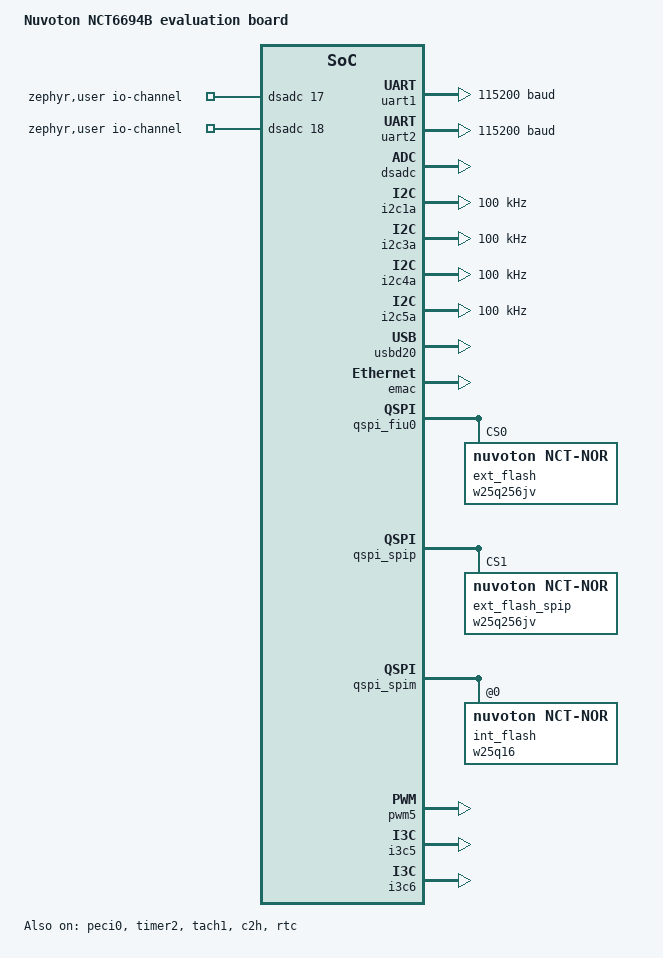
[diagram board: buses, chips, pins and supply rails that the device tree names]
/*
 * Copyright (c) 2025 Nuvoton Technology Corporation.
 *
 * SPDX-License-Identifier: Apache-2.0
 */

/dts-v1/;

#include <nuvoton/nct6694b.dtsi>
#include <nuvoton/nct/nct66/nct66-pinctrl.dtsi>

/ {
	model = "Nuvoton NCT6694B evaluation board";

	chosen {
		zephyr,sram = &sram0;
		zephyr,flash = &flash0;
		zephyr,shell-uart = &uart1;
		zephyr,console = &uart1;
	};

	aliases {
		watchdog0 = &twd;
		rtc = &rtc;
		taf-flash = &ext_flash;
	};

	zephyr,user {
		/* adjust channel number according to enum adc_channel_en in adc_nct.c */
		/* Because VIN16, THR16, TD2P is the same pin, it must only select one type.
		 * Because VIN15, THR15, TD0P is the same pin, it must only select one type.
		 * Because VIN14, THR14, TD1P is the same pin, it must only select one type.
		 * Because VIN1, THR1, TD3P is the same pin, it must only select one type.
		 * Because VIN2, THR2, TD4P is the same pin, it must only select one type.
		 * Exsample : if you select channel 8(VIN16),
		 *            and you can't select channel 9(THR16) and channel 22(TD2P).
		 */
		io-channels = <&dsadc 17>, <&dsadc 18>;
	};
};

&uart1 {
	status = "okay";
	current-speed = <115200>;
	pinctrl-0 = <&cr_uart1_sin_gp14 &cr_uart1_sout_gp15>;
	pinctrl-names = "default";
};

&uart2 {
	status = "okay";
	current-speed = <115200>;
	pinctrl-0 = <&cr_uart2_sin_gp30 &cr_uart2_sout_gp31>;
	pinctrl-names = "default";
};

&peci0 {
	status = "okay";
	pinctrl-0 = <&peci0_gp97>;
	pinctrl-names = "default";
};

&dsadc {
	status = "okay";
	/* Pin D7 is shared by thermal signal VIN16, THR16, TD2P.
	 * Pin C7 is shared by thermal signal VIN15, THR15, TD1P.
	 * Pin A6 is shared by thermal signal VIN14, THR14, TD0P.
	 * Pin B6 is shared by thermal signal VIN1, THR1, TD3P.
	 * Pin C6 is shared by thermal signal VIN2, THR2, TD4P.
	 */
	pinctrl-0 = <&adc_vin7_gp86   /* VIN7 - C8 */
		     &adc_vin5_gp87   /* VIN5 - F7 */
		     &adc_vin16_gp91  /* VIN16/THR16/TD2P - D7 */
		     &adc_vin15_gp91  /* VIN15/THR15/TD1P - C7 */
		     &adc_vin14_gp92  /* VIN14/THR14/TD0P - A6 */
		     &adc_vin1_gp93   /* VIN1/THR1/TD3P - B6 */
		     &adc_vin2_gp94   /* VIN2/THR2/TD4P - C6 */
		     &adc_vin3_gp95>; /* VIN3 - D6 */
	pinctrl-names = "default";
};

&i2c1a {
	status = "okay";
	pinctrl-0 = <&i2c1a_scl_sda_gp60_61>;
	pinctrl-names = "default";
	clock-frequency = <I2C_BITRATE_STANDARD>;
};

&i2c3a {
	status = "okay";
	pinctrl-0 = <&i2c3a_scl_sda_gpa7_a2>;
	pinctrl-names = "default";
	clock-frequency = <I2C_BITRATE_STANDARD>;
};

&i2c4a {
	status = "okay";
	pinctrl-0 = <&i2c4a_scl_sda_gp36_37>;
	pinctrl-names = "default";
	clock-frequency = <I2C_BITRATE_STANDARD>;
};

&i2c5a {
	status = "okay";
	pinctrl-0 = <&i2c5a_scl_sda_gp34_35>;
	pinctrl-names = "default";
	clock-frequency = <I2C_BITRATE_STANDARD>;
};

&i2c6a {
	status = "disabled";
	pinctrl-0 = <&i2c6a_scl_gp96 &i2c6a_sda_gp97>;
	pinctrl-names = "default";
	clock-frequency = <I2C_BITRATE_STANDARD>;
};

&i2c1b {
	status = "disabled";
	pinctrl-0 = <&i2c1b_scl_sda_gp26_25>;
	pinctrl-names = "default";
	clock-frequency = <I2C_BITRATE_STANDARD>;
};

&usbd20 {
	status = "okay";
	pinctrl-0 = <&usbdphy_en &usbdphy_clk_external>;
	pinctrl-names = "default";
};

&emac {
	status = "okay";
	pinctrl-0 = <&emac_rmii_en &emac_mdio_en &emac_phy>;
	pinctrl-names = "default";
};

// &spip1 {
// 	pinctrl-0 = <&pspi1_clk_io0_io1_io2_io3_cs_gp66_67_70_73_76_77>;
// 	pinctrl-names = "default";
// 	status = "okay";
// };

&qspi_fiu0 {
	ext_flash: w25q256jv@0 {
		compatible ="nuvoton,nct-nor";
		size = <DT_SIZE_M(32 * 8)>;
		reg = <0>;
		enter-4byte-addr = <0x0>;
		status = "okay";
		quad-enable-requirements = "S2B1v1";
		rd-mode = "NCT_RD_MODE_QUAD";

		/* quad spi bus configuration of nor flash device */
		qspi-flags = <NCT_QSPI_SW_CS1>;
		mapped-addr = <0x70000000>;
		pinctrl-0 = <&fiu0_shd_cs_io0_io1_clk_gp44_45_46_47
			&fiu0_shd_quad_io2_io3_clk_gp55_56>;
		pinctrl-names = "default";
	};
};
 
&qspi_spip {
	ext_flash_spip: w25q256jv@1 {
		compatible ="nuvoton,nct-nor";
		size = <DT_SIZE_M(32 * 8)>;
		reg = <1>;
		enter-4byte-addr = <0x2>;
		status = "okay";
		rd-mode = "NCT_RD_MODE_NORMAL";
 
		qspi-flags = <NCT_QSPI_SW_CS0>;
		pinctrl-0 = < &pspi1_clk_io0_io1_io2_io3_cs_gp66_67_70_73_76_77 >;
		pinctrl-names = "default";
	};
};
 
&qspi_spim {
	int_flash: w25q16@0 {
		compatible ="nuvoton,nct-nor";
		size = <DT_SIZE_M(2 * 8)>;
		status = "okay";
		quad-enable-requirements = "S2B1v1";
		rd-mode = "NCT_RD_MODE_QUAD";
		mapped-addr = <0x00080000>;
		qspi-flags = <NCT_QSPI_SW_CS0>;
   };
};

&timer2 {
	prescaler = <2>;
	status = "okay";
};

&pwm5 {
	pinctrl-0 = <&pwm4_sl_gpa0>;
	pinctrl-names = "default";
	status = "okay";
};

&tach1 {
	pin-select = <NCT_TACH_PIN_SELECT_4>; /* Select tach pin 4 as input pin */
	sample-clk = <NCT_TACH_FREQ_LFCLK>; /* Use LFCLK as sampling clock */
	pulses-per-round = <2>; /* number of pulses per round of encoder */
	pinctrl-0 = <&ta4_sl_gpa1>;
	pinctrl-names = "default";
	status = "okay";
};

&i3c1 {
	i3c-scl-hz = <12500000>;
	i3c-od-scl-hz = <4170000>;
	i2c-scl-hz = <1000000>;
	pinctrl-0 = <&i3c1_scl_sda_gp21_22>;
	pinctrl-names = "default";
	status = "disabled";
};

&i3c2 {
	i3c-scl-hz = <12500000>;
	i3c-od-scl-hz = <4170000>;
	i2c-scl-hz = <1000000>;
	pinctrl-0 = <&i3c2_scl_sda_gp23_24>;
	pinctrl-names = "default";
	status = "disabled";
};

&i3c3 {
	i3c-scl-hz = <12500000>;
	i3c-od-scl-hz = <4170000>;
	i2c-scl-hz = <1000000>;
	pinctrl-0 = <&i3c3_scl_lv_gp26 &i3c3_sda_lv_gp25
			&i3c3_scl_sda_gp26_25>;
	pinctrl-names = "default";
	status = "disabled";
};

&i3c4 {
	i3c-scl-hz = <12500000>;
	i3c-od-scl-hz = <4170000>;
	i2c-scl-hz = <1000000>;
	pinctrl-0 = <&i3c4_scl_sda_gpd0_d1>;
	pinctrl-names = "default";
	status = "disabled";
};

&i3c5 {
	i3c-scl-hz = <12500000>;
	i3c-od-scl-hz = <4170000>;
	i2c-scl-hz = <1000000>;
	pinctrl-0 = <&i3c5_scl_sda_gp82_83>;
	pinctrl-names = "default";
	status = "okay";
};

&i3c6 {
	i3c-scl-hz = <12500000>;
	i3c-od-scl-hz = <4170000>;
	i2c-scl-hz = <1000000>;
	pinctrl-0 = <&tri_state_gp96 &tri_state_gp97
			&i3c6_scl_sda_gp96_97>;
	pinctrl-names = "default";
	status = "okay";
};

&c2h {
	status = "okay";
};

&rtc {
	alarms_count = <1>;
	status = "okay";
};

&gpio0 {
	gpio-line-names = "GPIO00_PinA1","GPIO01_PinB1","GPIO02_PinC1","GPIO03_PinD1",
			"GPIO04_PinE1","GPIO05_PinD2","GPIO06_PinC3","GPIO07_PinD3";
};

&gpio1 {
	gpio-line-names = "GPIO10_PinF4","GPIO11_PinF3","GPIO12_PinG4","GPIO13_PinG3",
			"GPIO14_PinH4","GPIO15_PinH3","GPIO16_PinH2","GPIO17_PinJ4";
};

&gpio2 {
	gpio-line-names = "GPIO20_PinM4","GPIO21_PinL4","GPIO22_PinJ5","GPIO23_PinK4",
			"GPIO24_PinK5","GPIO25_PinL5","GPIO26_PinM5","GPIO27_PinG6";
};

&gpio3 {
	gpio-line-names = "GPIO30_PinJ6","GPIO31_PinK6","GPIO32_PinJ7","GPIO33_PinK7",
			"GPIO34_PinL6","GPIO35_PinM6","GPIO36_PinL7","GPIO37_PinM7";
};

&gpio4 {
	gpio-line-names = "GPIO40_PinM8","GPIO41_PinM9","GPIO42_PinM10","GPIO43_PinM11",
			"GPIO44_PinM12","GPIO45_PinL12","GPIO46_PinK12","GPIO47_PinJ12";
};

&gpio5 {
	gpio-line-names = "GPIO50_PinK8_PSOUT","GPIO51_PinJ8_PSIN","GPIO52_PinL9_PSON","GPIO53_PinL10_SLPS3",
			"GPIO54_PinL11","GPIO55_PinH12","GPIO56_PinG12","GPIO57_PinH10";
};

&gpio6 {
	gpio-line-names = "GPIO60_PinK10","GPIO61_PinK11","GPIO62_PinJ10","GPIO63_PinJ11_ATXPGD",
			"GPIO64_PinH11","GPIO65_PinG9_SLPS5","GPIO66_PinD12","GPIO67_PinC12";

};

&gpio7 {
	gpio-line-names = "GPIO70_PinB12","GPIO71_PinF9_SLPSUS","GPIO72_PinE9_FWRDY","GPIO73_PinA12",
			"GPIO74_PinC11","GPIO75_PinB11","GPIO76_PinA11","GPIO77_PinA10";
};

&gpio8 {
	gpio-line-names = "GPIO80_PinB10","GPIO81_PinC10","GPIO82_PinB9","GPIO83_PinA9",
			"GPIO84_X","GPIO85_X","GPIO86_PinC8","GPIO87_PinF7";
	gpio-reserved-ranges = <4 2>;
};

&gpio9 {
	gpio-line-names = "GPIO90_PinD7","GPIO91_PinC7","GPIO92_PinA6","GPIO93_PinB6",
			"GPIO94_PinC6","GPIO95_PinD6_ATX5VSB","GPIO96_PinA5","GPIO97_PinB5";
};

&gpioa {
	gpio-line-names = "GPIOA0_PinC5","GPIOA1_PinD5","GPIOA2_PinB3","GPIOA3_PinD4",
			"GPIOA4_PinC4","GPIOA5_PinB4","GPIOA6_PinA4","GPIOA7_PinB2";
};

&gpiob {
	gpio-line-names = "GPIOB0_PinC2","GPIOB1_PinF1","GPIOB2_PinE2","GPIOB3_PinF2",
			"GPIOB4_PinE3","GPIOB5_PinE4","GPIOB6_PinL8","GPIOB7_PinG2";
};

&gpioc {
	gpio-line-names = "GPIOC0_PinM2","GPIOC1_PinL2","GPIOC2_PinK2","GPIOC3_PinJ2",
			"GPIOC4_PinM3","GPIOC5_PinL3","GPIOC6_PinK3","GPIOC7_PinJ3";
};

&gpiod {
	gpio-line-names = "GPIOD0_PinG11","GPIOD1_PinF11","GPIOD2_PinG10","GPIOD3_PinF10",
			"GPIOD4_PinE11","GPIOD5_PinD11","GPIOD6_PinE10","GPIOD7_PinD10";
};

&gpioe {
	gpio-line-names = "GPIOE0_PinJ9","GPIOE1_PinK9_DPWROK","GPIOE2_PinH9_PWROK","GPIOE3_PinH5",
			"GPIOE4_PinD9","GPIOE5_PinD8_RSMRST","GPIOE6_PinC9","GPIOE7_X";
	gpio-reserved-ranges = <7 1>;
};

&gpiof {
	gpio-line-names = "GPIOF0_PinB8","GPIOF1_PinA8","GPIOF2_PinB7","GPIOF3_PinA7",
			"GPIOF4_X","GPIOF5_X","GPIOF6_X","GPIOF7_X";
	gpio-reserved-ranges = <4 4>;
};
